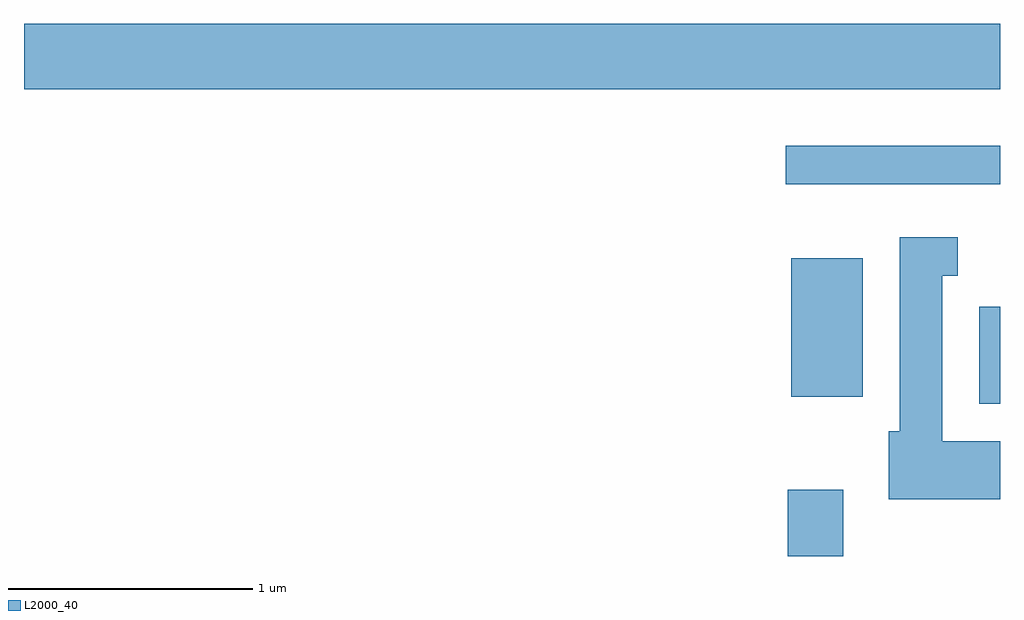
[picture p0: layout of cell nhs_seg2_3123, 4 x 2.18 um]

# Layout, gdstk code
import gdstk
lib = gdstk.Library(unit=1e-6, precision=1e-09)
def R(c, l, rs):  # rectangles x0, y0, x1, y1
    for r in rs: c.add(gdstk.rectangle(r[:2], r[2:], *l))
def P(c, l, *ps):  # polygons
    for p in ps: c.add(gdstk.Polygon(p, *l))
L2000_40 = (2000, 40)

nhs_seg2_3123 = lib.new_cell('nhs_seg2_3123')
R(nhs_seg2_3123, L2000_40, [(280.741,979.802,280.969,980.074), (281.526,980.426,281.611,980.824), (280.756,980.456,281.049,981.024), (280.733,981.326,281.611,981.484), (277.611,981.716,281.611,981.984)])
P(nhs_seg2_3123, L2000_40, [(281.611,980.274),(281.374,980.274),(281.374,980.951),(281.438,980.951),(281.438,981.109),(281.201,981.109),(281.201,980.314),(281.156,980.314),(281.156,980.036),(281.611,980.036)])

lib.write_gds('nhs_seg2_3123.gds')
